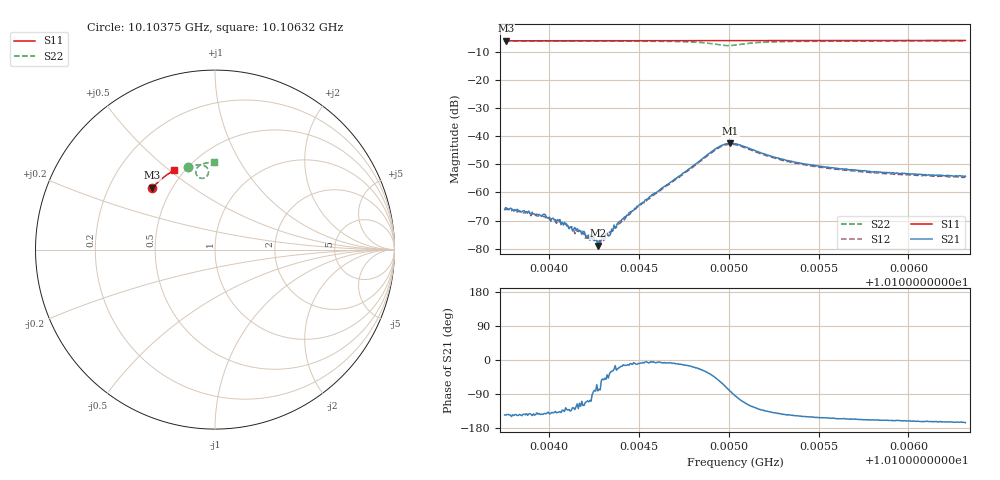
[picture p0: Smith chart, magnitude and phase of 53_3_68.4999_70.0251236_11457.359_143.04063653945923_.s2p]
#  HZ  S  RI  R  50.00
! Rohde & Schwarz Vector Network Analyzer
! Rohde-Schwarz,ZNB20-2Port,1311601062101988,3.16
! Created: UTC 3/20/2024, 4:50:56 PM
! freq[Hz]  re:S11  im:S11  re:S21  im:S21  re:S12  im:S12  re:S22  im:S22
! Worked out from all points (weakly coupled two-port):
!   401 points, 10.10375 GHz to 10.10632 GHz, reference 50 ohm
!   highest |S21| = -42.60 dB at 10.10501 GHz (marker M1); lowest = -79.0 dB at 10.10427 GHz (marker M2)
!   lowest |S11| = -6.2 dB at 10.10376 GHz (marker M3), VSWR 2.93, Z = 19.6 + j17.8 ohm
!   |S11| at or under -10 dB: nowhere
!   |S22| runs from -7.9 to -6.2 dB; largest |S21 - S12| = 0.00077
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1.0103753e10  -0.3488 0.3452  -0.000407 -0.000286  -0.000374 -0.000328  -0.1513 0.4587
1.0103759e10  -0.3484 0.3454  -0.000444 -0.000304  -0.000365 -0.000331  -0.1508 0.459
1.0103977e10  -0.3393 0.3551  -0.000314 -0.000256  -0.000246 -0.000281  -0.136 0.4639
1.010415e10  -0.3319 0.3626  -0.000116 -0.000179  -9.61e-05 -0.000191  -0.1236 0.4675
1.0104182e10  -0.3307 0.364  -5.82e-05 -0.00017  -9.17e-05 -0.000185  -0.1211 0.468
1.0104214e10  -0.3292 0.3655  -5.1e-05 -0.000159  -4.45e-06 -0.000143  -0.1188 0.4688
1.0104246e10  -0.3277 0.3668  1.44e-05 -0.000143  2.09e-05 -0.000165  -0.1163 0.4692
1.0104272e10  -0.3267 0.3678  1.66e-05 -0.000112  4.16e-05 -0.00013  -0.1142 0.4698
1.0104297e10  -0.3256 0.369  0.000111 -0.000131  0.000103 -0.000149  -0.1121 0.4703
1.010431e10  -0.325 0.3694  0.000106 -0.000118  9.44e-05 -0.000115  -0.1109 0.4705
1.0104342e10  -0.3236 0.3708  0.000157 -9.71e-05  0.000186 -7.97e-05  -0.1083 0.4711
1.0104394e10  -0.3213 0.373  0.00029 -9.96e-05  0.000274 -5.53e-05  -0.104 0.4718
1.0104477e10  -0.3174 0.3766  0.000492 -7.4e-05  0.000523 -2.32e-05  -0.0962 0.4728
1.0104612e10  -0.3116 0.382  0.00108 -9.48e-05  0.00106 -4.68e-05  -0.0815 0.4731
1.0104926e10  -0.2966 0.3942  0.00404 -0.00431  0.00424 -0.00374  -0.0374 0.424
1.0104971e10  -0.2946 0.3956  0.00295 -0.00634  0.00339 -0.00586  -0.0513 0.4033
1.0105009e10  -0.2929 0.3971  0.000918 -0.00736  0.00153 -0.00698  -0.0739 0.3969
1.0105035e10  -0.292 0.3979  -0.000538 -0.0073  0.000115 -0.00702  -0.0885 0.4012
1.0105253e10  -0.2815 0.4064  -0.00319 -0.00275  -0.00284 -0.00293  -0.0955 0.4605
1.0105464e10  -0.2714 0.4142  -0.00265 -0.00151  -0.0024 -0.00165  -0.0732 0.4753
1.0105894e10  -0.2497 0.4286  -0.00211 -0.000783  -0.00193 -0.000906  -0.0381 0.4849
1.0106317e10  -0.2278 0.4418  -0.00188 -0.000488  -0.00173 -0.000674  -0.00795 0.4883
